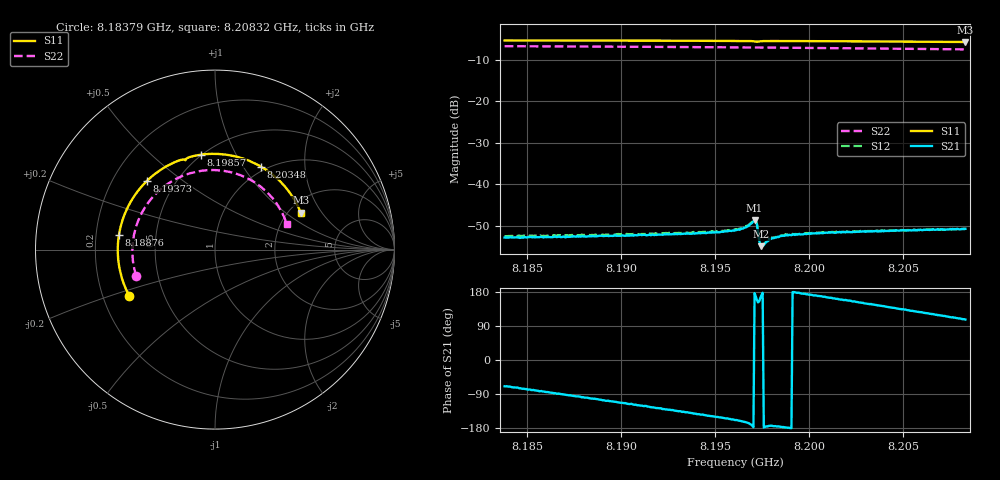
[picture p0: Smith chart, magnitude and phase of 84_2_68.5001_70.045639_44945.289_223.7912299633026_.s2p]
#  HZ  S  RI  R  50.00
! Rohde & Schwarz Vector Network Analyzer
! Rohde-Schwarz,ZNB20-2Port,1311601062101988,3.16
! Created: UTC 3/20/2024, 5:07:25 PM
! freq[Hz]  re:S11  im:S11  re:S21  im:S21  re:S12  im:S12  re:S22  im:S22
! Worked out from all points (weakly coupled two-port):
!   401 points, 8.18379 GHz to 8.20832 GHz, reference 50 ohm
!   highest |S21| = -48.63 dB at 8.1971 GHz (marker M1); lowest = -54.9 dB at 8.19747 GHz (marker M2)
!   lowest |S11| = -5.7 dB at 8.20832 GHz (marker M3), VSWR 3.17, Z = 116 + j65.3 ohm
!   |S11| at or under -10 dB: nowhere
!   |S22| runs from -7.5 to -6.7 dB; largest |S21 - S12| = 0.00018
!   S11 on the Smith chart (normalised r, x): 8.18379 GHz: 0.31, -0.23; 8.18876 GHz: 0.30, +0.07; 8.19373 GHz: 0.35, +0.38; 8.19857 GHz: 0.50, +0.73; 8.20348 GHz: 0.94, +1.21; 8.20832 GHz: 2.31, +1.31
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8.183793e9  -0.479 -0.2559  0.000808 -0.00213  0.000802 -0.00219  -0.4398 -0.1448
8.185817e9  -0.528 -0.1241  0.000275 -0.00229  0.000239 -0.00237  -0.4598 -0.034
8.187902e9  -0.5413 0.0204  -0.000357 -0.00233  -0.000386 -0.00244  -0.4517 0.0813
8.188761e9  -0.5354 0.0802  -0.000558 -0.00231  -0.000659 -0.00237  -0.4398 0.1275
8.190294e9  -0.5085 0.1841  -0.00102 -0.00218  -0.00112 -0.00226  -0.4069 0.2062
8.192011e9  -0.4543 0.2916  -0.00151 -0.00198  -0.00161 -0.00197  -0.3534 0.2852
8.193728e9  -0.3775 0.3843  -0.00194 -0.00163  -0.00204 -0.00161  -0.2843 0.3511
8.196058e9  -0.2431 0.4785  -0.00259 -0.00102  -0.00269 -0.000979  -0.1706 0.4145
8.19661e9  -0.2063 0.4945  -0.00289 -0.000838  -0.003 -0.00076  -0.141 0.4245
8.197101e9  -0.1695 0.5011  -0.00369 0.000218  -0.00374 0.000394  -0.1143 0.4315
8.197162e9  -0.1659 0.4992  -0.00355 0.000748  -0.00359 0.000902  -0.1109 0.4322
8.197408e9  -0.1607 0.5058  -0.00176 0.000513  -0.00176 0.00059  -0.0976 0.4351
8.197469e9  -0.1565 0.5086  -0.00177 0.00028  -0.00176 0.000341  -0.0942 0.4359
8.197592e9  -0.1477 0.513  -0.00185 -5.57e-05  -0.0019 3.28e-05  -0.0873 0.437
8.19796e9  -0.121 0.5209  -0.00217 -0.000245  -0.00223 -0.000146  -0.0667 0.4401
8.198573e9  -0.0774 0.529  -0.00239 -0.000128  -0.00241 -4.11e-05  -0.0321 0.4428
8.200167e9  0.0355 0.5318  -0.00252 0.000372  -0.00255 0.000524  0.0583 0.4372
8.201823e9  0.1502 0.5091  -0.00246 0.00098  -0.00245 0.00108  0.1492 0.4117
8.203479e9  0.2571 0.4618  -0.00224 0.00152  -0.00222 0.00161  0.2331 0.3666
8.204276e9  0.3041 0.4307  -0.00208 0.00178  -0.00206 0.00188  0.2698 0.3384
8.206423e9  0.4119 0.3236  -0.00148 0.00239  -0.00145 0.00246  0.3519 0.2437
8.208324e9  0.4777 0.2058  -0.000838 0.00278  -0.000715 0.0028  0.3995 0.1415
